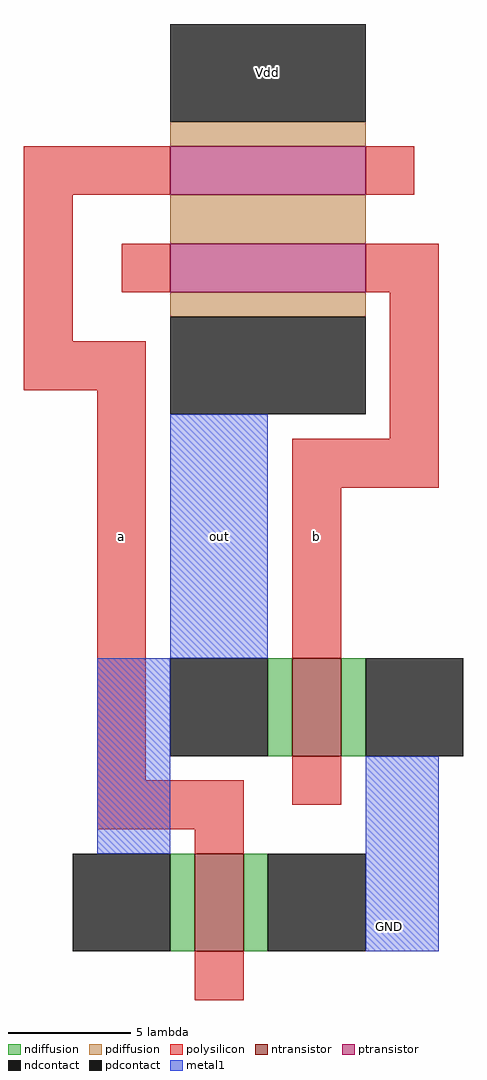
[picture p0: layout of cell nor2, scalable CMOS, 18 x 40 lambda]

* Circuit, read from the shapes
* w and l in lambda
.subckt nor2 GND Vdd a b out
M1 GND a out VSUBS nfet w=4 l=2
M2 GND b out VSUBS nfet w=4 l=2
M3 n1 b out NWELL pfet w=8 l=2
M4 Vdd a n1 NWELL pfet w=8 l=2
.ends

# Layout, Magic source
magic
tech scmos
<< polysilicon >>
rect -14 2 -8 4
rect 0 2 2 4
rect -14 -4 -12 2
rect -10 -2 -8 0
rect 0 -2 3 0
rect -14 -6 -9 -4
rect -11 -22 -9 -6
rect 1 -8 3 -2
rect -3 -10 3 -8
rect -3 -17 -1 -10
rect -11 -24 -5 -22
rect -3 -23 -1 -21
rect -7 -25 -5 -24
rect -7 -31 -5 -29
<< ndiffusion >>
rect -4 -21 -3 -17
rect -1 -21 0 -17
rect -8 -29 -7 -25
rect -5 -29 -4 -25
<< pdiffusion >>
rect -8 4 0 5
rect -8 0 0 2
rect -8 -3 0 -2
<< metal1 >>
rect -8 -17 -4 -7
rect -11 -25 -8 -17
rect 0 -29 3 -21
<< ntransistor >>
rect -3 -21 -1 -17
rect -7 -29 -5 -25
<< ptransistor >>
rect -8 2 0 4
rect -8 -2 0 0
<< ndcontact >>
rect -8 -21 -4 -17
rect 0 -21 4 -17
rect -12 -29 -8 -25
rect -4 -29 0 -25
<< pdcontact >>
rect -8 5 0 9
rect -8 -7 0 -3
<< labels >>
rlabel polysilicon -10 -12 -10 -12 3 a
rlabel polysilicon -2 -12 -2 -12 1 b
rlabel metal1 -6 -12 -6 -12 1 out
rlabel pdcontact -4 7 -4 7 5 Vdd
rlabel metal1 1 -28 1 -28 8 GND
<< end >>
